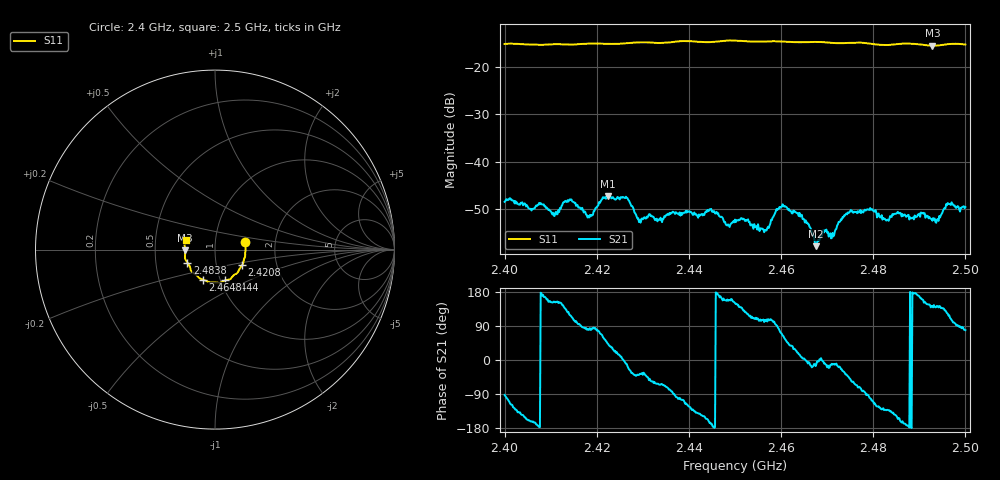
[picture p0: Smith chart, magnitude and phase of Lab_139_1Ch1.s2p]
# Hz S RI R 50
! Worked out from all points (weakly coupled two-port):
!   601 points, 2.4 GHz to 2.5 GHz, reference 50 ohm
!   highest |S21| = -47.21 dB at 2.4225 GHz (marker M1); lowest = -57.7 dB at 2.4675 GHz (marker M2)
!   lowest |S11| = -15.6 dB at 2.4928 GHz (marker M3), VSWR 1.40, Z = 35.8 - j0.355 ohm
!   |S11| at or under -10 dB: start of sweep to end of sweep
!   S12 and S22 are empty: the file has one direction only
!   S11 on the Smith chart (normalised r, x): 2.4 GHz: 1.40, +0.12; 2.4208 GHz: 1.33, -0.24; 2.444 GHz: 1.06, -0.37; 2.4648 GHz: 0.83, -0.29; 2.4838 GHz: 0.73, -0.11; 2.5 GHz: 0.72, +0.08
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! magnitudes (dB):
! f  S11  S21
! 2.4 GHz  -15.3  -48.4
! 2.4167 GHz  -15.3  -50.0
! 2.4185 GHz  -15.2  -51.2
! 2.4208 GHz  -15.2  -48.3
! 2.4225 GHz  -15.2  -47.2
! 2.4265 GHz  -15.1  -47.5
! 2.4292 GHz  -14.9  -52.7
! 2.4333 GHz  -15.0  -52.1
! 2.444 GHz  -14.9  -50.1
! 2.45 GHz  -14.5  -52.2
! 2.4565 GHz  -14.7  -54.3
! 2.4605 GHz  -14.7  -49.2
! 2.4648 GHz  -14.9  -52.0
! 2.4667 GHz  -14.8  -54.8
! 2.4675 GHz  -14.8  -57.7
! 2.4713 GHz  -15.0  -55.7
! 2.475 GHz  -15.0  -50.3
! 2.4833 GHz  -15.5  -52.4
! 2.4838 GHz  -15.4  -51.6
! 2.4928 GHz  -15.6  -52.4
! 2.4963 GHz  -15.3  -48.8
! 2.5 GHz  -15.4  -49.5
